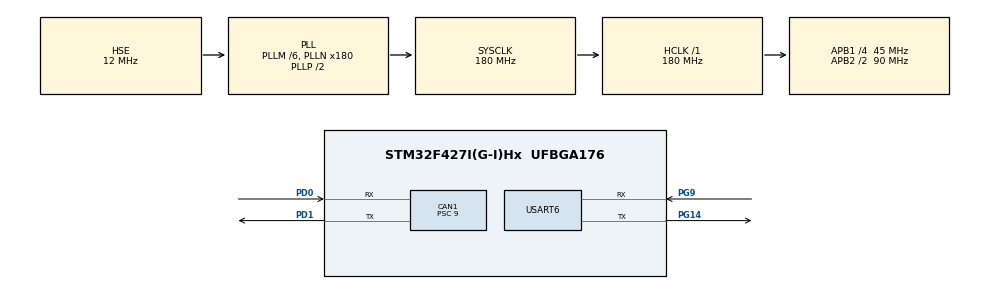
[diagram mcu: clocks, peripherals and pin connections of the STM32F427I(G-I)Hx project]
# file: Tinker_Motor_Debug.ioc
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CAN1.ABOM=ENABLE
CAN1.BS1=CAN_BS1_3TQ
CAN1.CalculateBaudRate=1000000
CAN1.CalculateTimeBit=1000
CAN1.CalculateTimeQuantum=200.0
CAN1.Mode=CAN_MODE_NORMAL
CAN1.Prescaler=9
Mcu.Family=STM32F4
Mcu.Name=STM32F427I(G-I)Hx
Mcu.Package=UFBGA176
NVIC.CAN1_RX0_IRQn=true\:0\:0\:false\:false\:true\:true\:true\:true
NVIC.PriorityGroup=NVIC_PRIORITYGROUP_4
PA13.Mode=Serial_Wire
PA13.Signal=SYS_JTMS-SWDIO
PA14.Mode=Serial_Wire
PA14.Signal=SYS_JTCK-SWCLK
PB13.Signal=CAN2_TX
PD0.Mode=CAN_Activate
PD0.Signal=CAN1_RX
PD1.Mode=CAN_Activate
PD1.Signal=CAN1_TX
PG14.Mode=Asynchronous
PG14.Signal=USART6_TX
PG9.Mode=Asynchronous
PG9.Signal=USART6_RX
PH0/OSC_IN.Mode=HSE-External-Oscillator
PH0/OSC_IN.Signal=RCC_OSC_IN
PH1/OSC_OUT.Mode=HSE-External-Oscillator
PH1/OSC_OUT.Signal=RCC_OSC_OUT
ProjectManager.HeapSize=0x200
ProjectManager.StackSize=0x400
ProjectManager.TargetToolchain=SW4STM32
RCC.48MHZClocksFreq_Value=90000000
RCC.AHBFreq_Value=180000000
RCC.APB1CLKDivider=RCC_HCLK_DIV4
RCC.APB1Freq_Value=45000000
RCC.APB1TimFreq_Value=90000000
RCC.APB2CLKDivider=RCC_HCLK_DIV2
RCC.APB2Freq_Value=90000000
RCC.APB2TimFreq_Value=180000000
RCC.CortexFreq_Value=180000000
RCC.HCLKFreq_Value=180000000
RCC.HSE_VALUE=12000000
RCC.HSI_VALUE=16000000
RCC.LSE_VALUE=32768
RCC.PLLM=6
RCC.PLLN=180
RCC.PLLSourceVirtual=RCC_PLLSOURCE_HSE
RCC.SYSCLKFreq_VALUE=180000000
RCC.SYSCLKSource=RCC_SYSCLKSOURCE_PLLCLK
RCC.VCOOutputFreq_Value=360000000
USART6.VirtualMode=VM_ASYNC
board=custom

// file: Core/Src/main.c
/* USER CODE BEGIN Header */
/**
  ******************************************************************************
  * @file           : main.c
  * @brief          : Main program body
  ******************************************************************************
  * @attention
  *
  * <h2><center>&copy; Copyright (c) 2022 STMicroelectronics.
  * All rights reserved.</center></h2>
  *
  * This software component is licensed by ST under BSD 3-Clause license,
  * the "License"; You may not use this file except in compliance with the
  * License. You may obtain a copy of the License at:
  *                        opensource.org/licenses/BSD-3-Clause
  *
  ******************************************************************************
  */
/* USER CODE END Header */
#include "main.h"
#include "can.h"
#include "usart.h"
#include "gpio.h"

/* USER CODE BEGIN Includes */
#include "pid.h"
//速度环（单级）
pid_struct_t motor_pid_Single;//定义单个pid结构体
float speedTarget = 2000;//速度目标位置（单级）

//角度环（串级）
pid_Cascade_t motor_pid_Cas;//定义串级pid结构体
float angleTarget = 180;//角度目标位置（串级）

#define ANGLE //SPEED or ANGLE or OPEN

/* USER CODE END Includes */

void SystemClock_Config(void);

int main(void)
{

  /* MCU Configuration--------------------------------------------------------*/

  /* Reset of all peripherals, Initializes the Flash interface and the Systick. */
  HAL_Init();

  /* Configure the system clock */
  SystemClock_Config();

  /* Initialize all configured peripherals */
  MX_GPIO_Init();
  MX_CAN1_Init();
  MX_USART6_UART_Init();
  /* USER CODE BEGIN 2 */
    u1_printf("test usart work\r\n");
    Configure_Filter();
  /* USER CODE END 2 */

  /* Infinite loop */
  while (1)
  {

    /* USER CODE BEGIN 3 */
#ifdef OPEN //开环控制
      CAN_Transmit(25000);//[-30000,30000]
      HAL_Delay(5);
#endif
#ifdef SPEED//速度单闭环控制
      /*open loop control*/
      pid_init(&motor_pid_Single,15,3,0,30000,30000);
      int16_t set_voltage = pid_calc(&motor_pid_Single, speedTarget, motor_info.rotor_speed);
      CAN_Transmit(set_voltage);
      HAL_Delay(5);
#endif
#ifdef ANGLE//角度双闭环控制
    /*closed loop control*/
      pid_init(&motor_pid_Cas.inner, 15, 3, 0, 30000, 30000);
      pid_init(&motor_pid_Cas.outer, 0, 0, 0, 30000, 30000);
      int16_t set_voltage = pid_CascadeCalc(&motor_pid_Cas,angleTarget,motor_info.rotor_angle,motor_info.rotor_speed);
      CAN_Transmit(set_voltage);
      HAL_Delay(5);
#endif
  }
  /* USER CODE END 3 */
}

void SystemClock_Config(void)
{
  RCC_OscInitTypeDef RCC_OscInitStruct = {0};
  RCC_ClkInitTypeDef RCC_ClkInitStruct = {0};

  /** Configure the main internal regulator output voltage
  */
  __HAL_RCC_PWR_CLK_ENABLE();
  __HAL_PWR_VOLTAGESCALING_CONFIG(PWR_REGULATOR_VOLTAGE_SCALE1);
  /** Initializes the RCC Oscillators according to the specified parameters
  * in the RCC_OscInitTypeDef structure.
  */
  RCC_OscInitStruct.OscillatorType = RCC_OSCILLATORTYPE_HSE;
  RCC_OscInitStruct.HSEState = RCC_HSE_ON;
  RCC_OscInitStruct.PLL.PLLState = RCC_PLL_ON;
  RCC_OscInitStruct.PLL.PLLSource = RCC_PLLSOURCE_HSE;
  RCC_OscInitStruct.PLL.PLLM = 6;
  RCC_OscInitStruct.PLL.PLLN = 180;
  RCC_OscInitStruct.PLL.PLLP = RCC_PLLP_DIV2;
  RCC_OscInitStruct.PLL.PLLQ = 4;
  if (HAL_RCC_OscConfig(&RCC_OscInitStruct) != HAL_OK)
  {
    Error_Handler();
  }
  /** Activate the Over-Drive mode
  */
  if (HAL_PWREx_EnableOverDrive() != HAL_OK)
  {
    Error_Handler();
  }
  /** Initializes the CPU, AHB and APB buses clocks
  */
  RCC_ClkInitStruct.ClockType = RCC_CLOCKTYPE_HCLK|RCC_CLOCKTYPE_SYSCLK
                              |RCC_CLOCKTYPE_PCLK1|RCC_CLOCKTYPE_PCLK2;
  RCC_ClkInitStruct.SYSCLKSource = RCC_SYSCLKSOURCE_PLLCLK;
  RCC_ClkInitStruct.AHBCLKDivider = RCC_SYSCLK_DIV1;
  RCC_ClkInitStruct.APB1CLKDivider = RCC_HCLK_DIV4;
  RCC_ClkInitStruct.APB2CLKDivider = RCC_HCLK_DIV2;

  if (HAL_RCC_ClockConfig(&RCC_ClkInitStruct, FLASH_LATENCY_5) != HAL_OK)
  {
    Error_Handler();
  }
}

void Error_Handler(void)
{
  __disable_irq();
  while (1)
  {
  }
}

/************************ (C) COPYRIGHT STMicroelectronics *****END OF FILE****/
